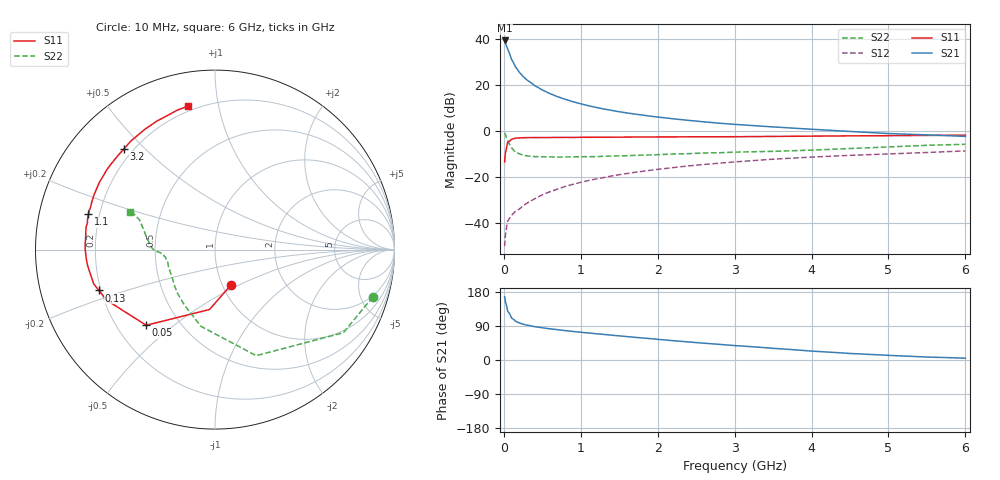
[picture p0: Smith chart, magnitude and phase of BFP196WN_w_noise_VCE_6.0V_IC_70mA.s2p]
! Infineon Technologies  Discrete & RF Semiconductors
! BFP196WN
! VCE =  6.0 V,  IC =  70 mA
! Common Emitter S-Parameters:  Jan 2017
# GHz  S  MA  R  50
!  f  S11  S21  S12  S22
! GHz  MAG  ANG  MAG  ANG  MAG  ANG  MAG  ANG
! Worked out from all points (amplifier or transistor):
!   77 points, 10 MHz to 6 GHz, reference 50 ohm
!   highest |S21| = 39.3 dB at 10 MHz (marker M1)
!   |S21| within 3 dB of that: start of sweep to 41.5 MHz
!   unconditionally stable (mu >= 1): 572.7 MHz to 2.606 GHz
!   at 130 MHz: K = 0.62, MSG = 32.4 dB, |S12| = -35.5 dB
!   at 2.2 GHz: K = 1.02, MAG = 9.8 dB, |S12| = -15.9 dB
!   at 6 GHz: K = 0.91, MSG = 3.1 dB, |S12| = -8.6 dB
!   lowest NFmin = 1.47 dB at 450 MHz
!   S11 on the Smith chart (normalised r, x): 10 MHz: 1.10, -0.45; 50 MHz: 0.32, -0.40; 130 MHz: 0.19, -0.16; 1.1 GHz: 0.16, +0.13; 3.2 GHz: 0.17, +0.43; 6 GHz: 0.17, +0.82
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0.01  0.2154 -65.3  91.73 166.7  0.0032 78.0  0.9177 -16.7
0.02  0.335 -95.2  82.99 153.7  0.0055 72.9  0.8523 -32.9
0.05  0.5699 -132.3  59.7 128.6  0.0111 52.0  0.6337 -68.8
0.1  0.6657 -154.9  35.56 110.7  0.0148 51.3  0.4341 -100.5
0.13  0.6855 -160.6  29.08 106.6  0.0168 52.5  0.3806 -110.6
0.15  0.7022 -164.2  24.87 102.7  0.0181 53.1  0.3531 -118.8
0.2  0.7085 -169.4  18.93 97.9  0.0203 58.5  0.3207 -130.6
0.25  0.7157 -173.1  15.26 94.5  0.024 60.1  0.3019 -138.3
0.3  0.719 -175.8  12.78 92.0  0.0273 62.4  0.2883 -144.7
0.4  0.7225 -179.8  9.668 88.0  0.0339 65.9  0.2795 -152.4
0.5  0.7237 177.2  7.747 85.0  0.0415 68.0  0.2769 -157.8
0.6  0.7238 174.7  6.472 82.3  0.0485 68.7  0.2751 -161.8
0.7  0.7264 172.3  5.54 80.0  0.0554 70.3  0.2722 -164.4
0.9  0.7266 168.1  4.308 75.3  0.0702 70.1  0.2763 -167.9
1.1  0.7318 164.4  3.538 71.3  0.0847 69.9  0.2784 -170.8
1.5  0.7369 157.9  2.617 63.7  0.1133 68.1  0.2888 -174.4
2.1  0.7452 148.3  1.925 52.8  0.1544 63.9  0.3125 -177.3
3.1  0.7549 133.5  1.359 36.8  0.22 55.5  0.3516 178.3
3.2  0.7567 132.1  1.325 35.4  0.2263 54.6  0.3543 177.6
4.1  0.777 119.2  1.07 22.3  0.2773 46.9  0.3918 168.8
5.1  0.7951 108.5  0.87 11.4  0.3235 39.2  0.4591 158.1
6  0.8133 100.6  0.765 4.8  0.3712 33.2  0.5162 155.8
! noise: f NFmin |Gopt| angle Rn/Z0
0.45  1.47  0.57  -176  0.05
0.9  1.6  0.58  -169  0.06
1.9  2.54  0.7  -147  0.19
2.4  3.34  0.71  -139  0.32
